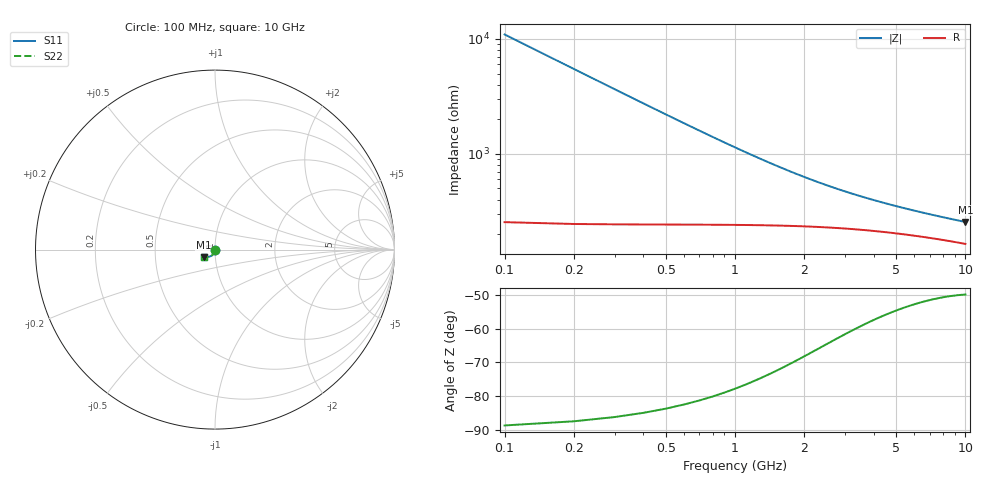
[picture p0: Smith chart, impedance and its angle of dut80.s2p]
! Touchstone file exported from HFSS 2024.1.0
!  File:  C:/UserFiles/LocalFiles/RDL_TSV_Batchsim/temp_TSV1_80_1778750972.aedt
!  Generated:  05:34:03 PM May 14, 2026
!  Design:  TSV1
!  Project:  temp_TSV1_80_1778750972
!  Setup:  Setup1
!  Solution:  Sweep
! Variables:
!  dtsv = 15.93um
!  hbump = 3um
!  htsv = 75.19um
!  lrdl = 252.1521522um
!  p = 40
!  p1 = 43.12um
!  t = 500um
!  trdl = 3um
!  wrdl = 24.89489489um
# GHz S MA R 50.000000
! Terminal data exported
! Port[1] = TSV22_T1
! Port[2] = TSV22_T2
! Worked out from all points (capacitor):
!   100 points, 100 MHz to 10 GHz, reference 50 ohm
!   read as one part in shunt: C = 146 fF near 100 MHz
!   lowest |Z| = 256 ohm at 10 GHz (marker M1)
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0.1  0.00201 -89.3  0.9999 -0.1  0.9999 -0.1  0.00201 -89.3
! Gamma 0 0 0 0
! Port Impedance 50 0 50 0
0.2  0.004011 -91.9  0.9997 -0.3  0.9997 -0.3  0.004011 -91.9
0.3  0.006003 -93.8  0.9994 -0.4  0.9994 -0.4  0.006003 -93.8
0.4  0.007979 -95.5  0.9991 -0.6  0.9991 -0.6  0.007979 -95.5
0.5  0.009935 -97.1  0.9986 -0.7  0.9986 -0.7  0.009935 -97.1
0.6  0.01187 -98.7  0.998 -0.9  0.998 -0.9  0.01187 -98.7
0.7  0.01377 -100.2  0.9974 -1.0  0.9974 -1.0  0.01377 -100.2
0.8  0.01563 -101.7  0.9966 -1.1  0.9966 -1.1  0.01563 -101.7
0.9  0.01746 -103.1  0.9958 -1.3  0.9958 -1.3  0.01746 -103.1
1.1  0.021 -105.9  0.994 -1.5  0.994 -1.5  0.021 -105.9
1.4  0.02597 -109.7  0.991 -1.8  0.991 -1.8  0.02597 -109.7
1.6  0.02904 -112.1  0.9889 -2.0  0.9889 -2.0  0.02904 -112.1
1.8  0.03192 -114.4  0.9867 -2.2  0.9867 -2.2  0.03192 -114.4
2.1  0.03589 -117.5  0.9835 -2.4  0.9835 -2.4  0.03589 -117.5
2.5  0.04055 -121.1  0.9792 -2.7  0.9792 -2.7  0.04055 -121.1
2.9  0.0446 -124.2  0.9752 -3.0  0.9752 -3.0  0.0446 -124.2
3.4  0.04895 -127.5  0.9707 -3.2  0.9707 -3.2  0.04895 -127.5
4.2  0.05463 -131.7  0.9643 -3.6  0.9643 -3.6  0.05463 -131.7
5.1  0.05973 -135.3  0.9583 -3.9  0.9583 -3.9  0.05973 -135.3
6.7  0.0667 -139.7  0.9499 -4.4  0.9499 -4.4  0.0667 -139.7
8.4  0.07225 -143.0  0.9433 -4.9  0.9433 -4.9  0.07225 -143.0
10  0.0763 -145.3  0.9386 -5.4  0.9386 -5.4  0.0763 -145.3
